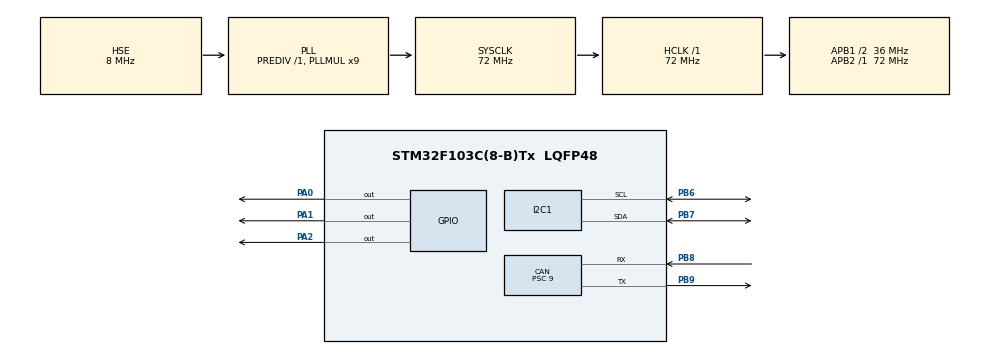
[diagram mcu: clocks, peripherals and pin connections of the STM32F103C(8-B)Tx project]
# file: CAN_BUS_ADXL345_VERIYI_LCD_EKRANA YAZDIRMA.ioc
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CAN.BS1=CAN_BS1_10TQ
CAN.BS2=CAN_BS2_5TQ
CAN.CalculateBaudRate=250000
CAN.CalculateTimeBit=4000
CAN.CalculateTimeQuantum=250.0
CAN.Prescaler=9
Mcu.Family=STM32F1
Mcu.Name=STM32F103C(8-B)Tx
Mcu.Package=LQFP48
NVIC.PriorityGroup=NVIC_PRIORITYGROUP_4
PA0-WKUP.Signal=GPIO_Output
PA1.Signal=GPIO_Output
PA13.Mode=Serial_Wire
PA13.Signal=SYS_JTMS-SWDIO
PA14.Mode=Serial_Wire
PA14.Signal=SYS_JTCK-SWCLK
PA2.Signal=GPIO_Output
PB6.Mode=I2C
PB6.Signal=I2C1_SCL
PB7.Mode=I2C
PB7.Signal=I2C1_SDA
PB8.Mode=CAN_Activate
PB8.Signal=CAN_RX
PB9.Mode=CAN_Activate
PB9.Signal=CAN_TX
PD0-OSC_IN.Mode=HSE-External-Oscillator
PD0-OSC_IN.Signal=RCC_OSC_IN
PD1-OSC_OUT.Mode=HSE-External-Oscillator
PD1-OSC_OUT.Signal=RCC_OSC_OUT
ProjectManager.HeapSize=0x200
ProjectManager.StackSize=0x400
ProjectManager.TargetToolchain=STM32CubeIDE
RCC.AHBFreq_Value=72000000
RCC.APB1CLKDivider=RCC_HCLK_DIV2
RCC.APB1Freq_Value=36000000
RCC.APB1TimFreq_Value=72000000
RCC.APB2Freq_Value=72000000
RCC.APB2TimFreq_Value=72000000
RCC.HCLKFreq_Value=72000000
RCC.PLLMUL=RCC_PLL_MUL9
RCC.PLLSourceVirtual=RCC_PLLSOURCE_HSE
RCC.SYSCLKFreq_VALUE=72000000
RCC.SYSCLKSource=RCC_SYSCLKSOURCE_PLLCLK
RCC.USBFreq_Value=72000000
board=custom

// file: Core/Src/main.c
/* USER CODE BEGIN Header */
/**
  ******************************************************************************
  * @file           : main.c
  * @brief          : Main program body
  ******************************************************************************
  * @attention
  *
  * Copyright (c) 2024 STMicroelectronics.
  * All rights reserved.
  *
  * This software is licensed under terms that can be found in the LICENSE file
  * in the root directory of this software component.
  * If no LICENSE file comes with this software, it is provided AS-IS.
  *
  ******************************************************************************
  */
/* USER CODE END Header */
#include "main.h"

CAN_HandleTypeDef hcan;

I2C_HandleTypeDef hi2c1;

/* USER CODE BEGIN PV */

CAN_TxHeaderTypeDef pTxHeader;
CAN_RxHeaderTypeDef pRxHeader;
CAN_FilterTypeDef sFilterConfig;

uint32_t pTxMailbox;
uint8_t count = 0;
uint8_t veri;
uint8_t dizi[3];
uint8_t x,y,z;
/* USER CODE END PV */

void SystemClock_Config(void);
static void MX_GPIO_Init(void);
static void MX_CAN_Init(void);
static void MX_I2C1_Init(void);

int main(void)
{

  /* MCU Configuration--------------------------------------------------------*/

  /* Reset of all peripherals, Initializes the Flash interface and the Systick. */
  HAL_Init();

  /* Configure the system clock */
  SystemClock_Config();

  /* Initialize all configured peripherals */
  MX_GPIO_Init();
  MX_CAN_Init();
  MX_I2C1_Init();
  /* USER CODE BEGIN 2 */

     lcd_init();

      HAL_CAN_Start(&hcan);
      // enable interrupt
      HAL_CAN_ActivateNotification(&hcan, CAN_IT_RX_FIFO0_MSG_PENDING);
      pTxHeader.DLC = 1;
      pTxHeader.IDE =CAN_ID_STD;
      pTxHeader.RTR =CAN_RTR_DATA;
      pTxHeader.StdId = 0x0303;

      //set filter parameters
      sFilterConfig.FilterActivation = ENABLE;
      sFilterConfig.FilterBank = 0;
      sFilterConfig.FilterFIFOAssignment = CAN_FILTER_FIFO0;
      sFilterConfig.FilterIdHigh = 0x0000 << 5;
      sFilterConfig.FilterIdLow = 0x0000 << 5;
      sFilterConfig.FilterMaskIdHigh = 0x0000 << 5;
      sFilterConfig.FilterMaskIdLow = 0x0000 << 5;
      sFilterConfig.FilterMode = CAN_FILTERMODE_IDMASK;
      sFilterConfig.FilterScale = CAN_FILTERSCALE_32BIT;

      HAL_CAN_ConfigFilter(&hcan, &sFilterConfig);

  /* USER CODE END 2 */

  /* Infinite loop */
  while (1)
  {

    /* USER CODE BEGIN 3 */

	  HAL_CAN_GetRxMessage(&hcan, CAN_RX_FIFO0, &pRxHeader, dizi);

	  x=dizi[0];
	  y=dizi[1];
	 z=dizi[2];
	     if(pRxHeader.StdId ==257)
	 	  {

		 lcd_send_cmd(0x01);

	     lcd_send_cmd(0x80);
         lcd_send_string("   X   Y     Z");
		 lcd_send_cmd(0xc0);
		 lcd_send_data(x / 100 + 48);
		 lcd_send_data((x / 10) % 10 + 48);
		 lcd_send_data(x % 10 + 48);

		// lcd_send_cmd(0x80);
		// lcd_send_string(" Y eksen: ");
		 lcd_send_cmd(0xc5);
		 lcd_send_data(y / 100 + 48);
		 lcd_send_data((y / 10) % 10 + 48);
		 lcd_send_data(y % 10 + 48);

		// lcd_send_cmd(0x80);
		// lcd_send_string("Z eksen: ");
		 lcd_send_cmd(0xcA);
		 lcd_send_data(y / 100 + 48);
		 lcd_send_data((y) % 10 + 48);
		 lcd_send_data(y % 10 + 48);

	 	  }
  }
  /* USER CODE END 3 */
}

void SystemClock_Config(void)
{
  RCC_OscInitTypeDef RCC_OscInitStruct = {0};
  RCC_ClkInitTypeDef RCC_ClkInitStruct = {0};

  /** Initializes the RCC Oscillators according to the specified parameters
  * in the RCC_OscInitTypeDef structure.
  */
  RCC_OscInitStruct.OscillatorType = RCC_OSCILLATORTYPE_HSE;
  RCC_OscInitStruct.HSEState = RCC_HSE_ON;
  RCC_OscInitStruct.HSEPredivValue = RCC_HSE_PREDIV_DIV1;
  RCC_OscInitStruct.HSIState = RCC_HSI_ON;
  RCC_OscInitStruct.PLL.PLLState = RCC_PLL_ON;
  RCC_OscInitStruct.PLL.PLLSource = RCC_PLLSOURCE_HSE;
  RCC_OscInitStruct.PLL.PLLMUL = RCC_PLL_MUL9;
  if (HAL_RCC_OscConfig(&RCC_OscInitStruct) != HAL_OK)
  {
    Error_Handler();
  }

  /** Initializes the CPU, AHB and APB buses clocks
  */
  RCC_ClkInitStruct.ClockType = RCC_CLOCKTYPE_HCLK|RCC_CLOCKTYPE_SYSCLK
                              |RCC_CLOCKTYPE_PCLK1|RCC_CLOCKTYPE_PCLK2;
  RCC_ClkInitStruct.SYSCLKSource = RCC_SYSCLKSOURCE_PLLCLK;
  RCC_ClkInitStruct.AHBCLKDivider = RCC_SYSCLK_DIV1;
  RCC_ClkInitStruct.APB1CLKDivider = RCC_HCLK_DIV2;
  RCC_ClkInitStruct.APB2CLKDivider = RCC_HCLK_DIV1;

  if (HAL_RCC_ClockConfig(&RCC_ClkInitStruct, FLASH_LATENCY_2) != HAL_OK)
  {
    Error_Handler();
  }
}

static void MX_CAN_Init(void)
{

  hcan.Instance = CAN1;
  hcan.Init.Prescaler = 9;
  hcan.Init.Mode = CAN_MODE_NORMAL;
  hcan.Init.SyncJumpWidth = CAN_SJW_1TQ;
  hcan.Init.TimeSeg1 = CAN_BS1_10TQ;
  hcan.Init.TimeSeg2 = CAN_BS2_5TQ;
  hcan.Init.TimeTriggeredMode = DISABLE;
  hcan.Init.AutoBusOff = DISABLE;
  hcan.Init.AutoWakeUp = DISABLE;
  hcan.Init.AutoRetransmission = DISABLE;
  hcan.Init.ReceiveFifoLocked = DISABLE;
  hcan.Init.TransmitFifoPriority = DISABLE;
  if (HAL_CAN_Init(&hcan) != HAL_OK)
  {
    Error_Handler();
  }

}

static void MX_I2C1_Init(void)
{

  hi2c1.Instance = I2C1;
  hi2c1.Init.ClockSpeed = 100000;
  hi2c1.Init.DutyCycle = I2C_DUTYCYCLE_2;
  hi2c1.Init.OwnAddress1 = 0;
  hi2c1.Init.AddressingMode = I2C_ADDRESSINGMODE_7BIT;
  hi2c1.Init.DualAddressMode = I2C_DUALADDRESS_DISABLE;
  hi2c1.Init.OwnAddress2 = 0;
  hi2c1.Init.GeneralCallMode = I2C_GENERALCALL_DISABLE;
  hi2c1.Init.NoStretchMode = I2C_NOSTRETCH_DISABLE;
  if (HAL_I2C_Init(&hi2c1) != HAL_OK)
  {
    Error_Handler();
  }

}

static void MX_GPIO_Init(void)
{
  GPIO_InitTypeDef GPIO_InitStruct = {0};

  /* GPIO Ports Clock Enable */
  __HAL_RCC_GPIOD_CLK_ENABLE();
  __HAL_RCC_GPIOA_CLK_ENABLE();
  __HAL_RCC_GPIOB_CLK_ENABLE();

  /*Configure GPIO pin Output Level */
  HAL_GPIO_WritePin(GPIOA, GPIO_PIN_0|GPIO_PIN_1|GPIO_PIN_2, GPIO_PIN_RESET);

  /*Configure GPIO pins : PA0 PA1 PA2 */
  GPIO_InitStruct.Pin = GPIO_PIN_0|GPIO_PIN_1|GPIO_PIN_2;
  GPIO_InitStruct.Mode = GPIO_MODE_OUTPUT_PP;
  GPIO_InitStruct.Pull = GPIO_NOPULL;
  GPIO_InitStruct.Speed = GPIO_SPEED_FREQ_LOW;
  HAL_GPIO_Init(GPIOA, &GPIO_InitStruct);

}

void Error_Handler(void)
{
  __disable_irq();
  while (1)
  {
  }
}
